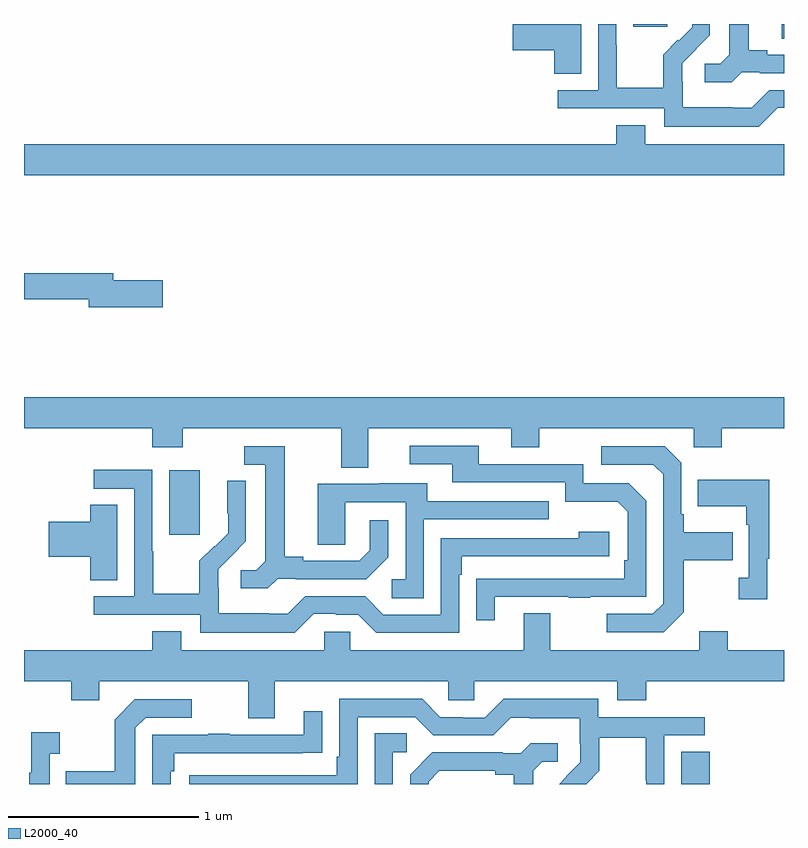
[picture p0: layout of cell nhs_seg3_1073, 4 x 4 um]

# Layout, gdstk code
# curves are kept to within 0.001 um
import gdstk
lib = gdstk.Library(unit=1e-6, precision=1e-09)
def R(c, l, rs):  # rectangles x0, y0, x1, y1
    for r in rs: c.add(gdstk.rectangle(r[:2], r[2:], *l))
def P(c, l, *ps):  # polygons
    for p in ps: c.add(gdstk.Polygon(p, *l))
L2000_40 = (2000, 40)

nhs_seg3_1073 = lib.new_cell('nhs_seg3_1073')
R(nhs_seg3_1073, L2000_40, [(170.459,676.4,170.609,676.571), (167.765,677.712,167.926,678.052), (170.987,680.323,171,680.4), (170.207,680.385,170.386,680.4)])
P(nhs_seg3_1073, L2000_40, [(169.933,680.4),(169.572,680.4),(169.572,680.261),(169.79,680.261),(169.79,680.137),(169.933,680.137)],
  [(170.778,680.145),(170.872,680.145),(170.872,680.142),(171,680.142),(171,680.238),(170.911,680.238),(170.911,680.261),(170.815,680.261),(170.815,680.4),(170.711,680.4),(170.711,680.237),(170.664,680.19),(170.583,680.19),(170.583,680.093),(170.726,680.093)],
  [(170.967,679.959),(171,679.959),(171,680.052),(170.922,680.052),(170.829,679.959),(170.729,679.959),(170.729,679.963),(170.466,679.963),(170.466,680.097),(170.464,680.097),(170.464,680.194),(170.61,680.342),(170.61,680.4),(170.516,680.4),(170.516,680.384),(170.445,680.313),(170.442,680.316),(170.365,680.239),(170.365,680.065),(170.121,680.065),(170.121,680.288),(170.118,680.288),(170.118,680.4),(170.022,680.4),(170.022,680.052),(169.809,680.052),(169.809,679.956),(170.37,679.956),(170.37,679.859),(170.867,679.859)],
  [(171,679.768),(170.269,679.768),(170.269,679.867),(170.117,679.867),(170.117,679.768),(167,679.768),(167,679.604),(171,679.604)],
  [(167.731,679.052),(167.47,679.052),(167.47,679.088),(167,679.088),(167,678.952),(167.342,678.952),(167.342,678.91),(167.731,678.91)],
  [(168.811,678.272),(169.565,678.272),(169.565,678.173),(169.713,678.173),(169.713,678.272),(170.526,678.272),(170.526,678.173),(170.673,678.173),(170.673,678.272),(171,678.272),(171,678.436),(167,678.436),(167,678.272),(167.675,678.272),(167.675,678.173),(167.835,678.173),(167.835,678.272),(168.671,678.272),(168.671,678.064),(168.811,678.064)],
  [(169.477,677.385),(169.867,677.385),(169.867,677.38),(169.979,677.38),(169.979,677.385),(170.274,677.385),(170.274,677.892),(170.184,677.982),(169.944,677.982),(169.944,678.084),(169.393,678.084),(169.393,678.18),(169.029,678.18),(169.029,678.084),(169.253,678.084),(169.253,677.988),(169.848,677.988),(169.848,677.885),(170.125,677.885),(170.178,677.832),(170.178,677.578),(170.158,677.578),(170.158,677.481),(169.381,677.48),(169.381,677.262),(169.477,677.262)],
  [(170.473,677.305),(170.473,677.578),(170.729,677.578),(170.729,677.725),(170.473,677.725),(170.473,677.821),(170.46,677.821),(170.46,678.09),(170.373,678.177),(170.037,678.177),(170.037,678.081),(170.313,678.081),(170.364,678.03),(170.364,677.349),(170.31,677.295),(170.067,677.295),(170.067,677.199),(170.367,677.199)],
  [(168.336,677.481),(168.43,677.481),(168.43,677.478),(168.802,677.478),(168.918,677.594),(168.918,677.788),(168.821,677.788),(168.821,677.631),(168.764,677.574),(168.469,677.574),(168.469,677.597),(168.373,677.597),(168.373,678.177),(168.159,678.177),(168.159,678.081),(168.269,678.081),(168.269,677.573),(168.222,677.526),(168.141,677.526),(168.141,677.429),(168.284,677.429)],
  [(168.525,677.295),(168.641,677.295),(168.641,677.292),(168.759,677.292),(168.855,677.196),(169.29,677.196),(169.29,677.501),(169.303,677.501),(169.303,677.598),(170.08,677.598),(170.08,677.728),(169.919,677.728),(169.919,677.694),(169.194,677.694),(169.194,677.292),(168.891,677.292),(168.795,677.388),(168.48,677.388),(168.387,677.295),(168.287,677.295),(168.287,677.299),(168.024,677.299),(168.024,677.433),(168.022,677.433),(168.022,677.53),(168.168,677.678),(168.168,677.996),(168.071,677.996),(168.071,677.824),(168.074,677.824),(168.074,677.72),(168.003,677.649),(168,677.652),(167.923,677.575),(167.923,677.401),(167.679,677.401),(167.679,677.624),(167.676,677.624),(167.676,678.054),(167.367,678.054),(167.367,677.955),(167.58,677.955),(167.58,677.388),(167.367,677.388),(167.367,677.292),(167.928,677.292),(167.928,677.195),(168.425,677.195)],
  [(170.911,677.585),(170.923,677.585),(170.923,678.001),(170.545,678.001),(170.545,677.861),(170.802,677.861),(170.802,677.765),(170.814,677.765),(170.814,677.486),(170.763,677.486),(170.763,677.373),(170.911,677.373)],
  [(169.104,677.793),(169.763,677.793),(169.763,677.889),(169.123,677.889),(169.123,677.983),(168.869,677.983),(168.869,677.979),(168.545,677.979),(168.545,677.659),(168.69,677.659),(168.69,677.883),(169.008,677.883),(169.008,677.478),(168.936,677.478),(168.936,677.377),(169.104,677.377)],
  [(167.491,677.87),(167.348,677.87),(167.348,677.78),(167.13,677.78),(167.13,677.597),(167.348,677.597),(167.348,677.473),(167.491,677.473)],
  [(167.675,677.203),(167.675,677.104),(167,677.104),(167,676.94),(167.248,676.94),(167.248,676.841),(167.395,676.841),(167.395,676.94),(168.179,676.94),(168.179,676.746),(168.319,676.746),(168.319,676.94),(169.233,676.94),(169.233,676.842),(169.371,676.842),(169.371,676.94),(170.123,676.94),(170.123,676.841),(170.276,676.841),(170.276,676.94),(171,676.94),(171,677.104),(170.703,677.104),(170.703,677.203),(170.555,677.203),(170.555,677.104),(169.771,677.104),(169.771,677.299),(169.631,677.299),(169.631,677.104),(168.717,677.104),(168.717,677.202),(168.579,677.202),(168.579,677.104),(167.827,677.104),(167.827,677.203)],
  [(168.756,676.752),(169.059,676.752),(169.155,676.656),(169.47,676.656),(169.563,676.749),(169.663,676.749),(169.663,676.745),(169.926,676.745),(169.926,676.611),(169.928,676.611),(169.928,676.514),(169.816,676.4),(169.958,676.4),(170.027,676.469),(170.027,676.644),(170.272,676.644),(170.272,676.42),(170.274,676.42),(170.274,676.4),(170.37,676.4),(170.37,676.656),(170.584,676.656),(170.584,676.752),(170.022,676.752),(170.022,676.849),(169.525,676.849),(169.425,676.749),(169.31,676.749),(169.31,676.752),(169.191,676.752),(169.095,676.848),(168.66,676.848),(168.66,676.543),(168.647,676.543),(168.647,676.446),(167.871,676.446),(167.871,676.4),(168.756,676.4)],
  [(167.586,676.695),(167.64,676.749),(167.884,676.749),(167.884,676.845),(167.583,676.845),(167.478,676.739),(167.478,676.467),(167.221,676.467),(167.221,676.4),(167.586,676.4)],
  [(167.772,676.466),(167.792,676.466),(167.792,676.563),(168.467,676.563),(168.467,676.564),(168.569,676.564),(168.569,676.783),(168.473,676.783),(168.473,676.659),(168.083,676.659),(168.083,676.664),(167.971,676.664),(167.971,676.659),(167.676,676.659),(167.676,676.4),(167.772,676.4)],
  [(167.136,676.559),(167.188,676.559),(167.188,676.672),(167.039,676.672),(167.039,676.459),(167.028,676.459),(167.028,676.4),(167.136,676.4)],
  [(168.942,676.566),(169.015,676.566),(169.015,676.667),(168.846,676.667),(168.846,676.4),(168.942,676.4)],
  [(169.129,676.413),(169.186,676.47),(169.481,676.47),(169.481,676.448),(169.577,676.448),(169.577,676.4),(169.681,676.4),(169.681,676.471),(169.728,676.518),(169.81,676.518),(169.81,676.615),(169.666,676.615),(169.614,676.563),(169.52,676.563),(169.52,676.566),(169.148,676.566),(169.032,676.45),(169.032,676.4),(169.129,676.4)])

lib.write_gds('nhs_seg3_1073.gds')
